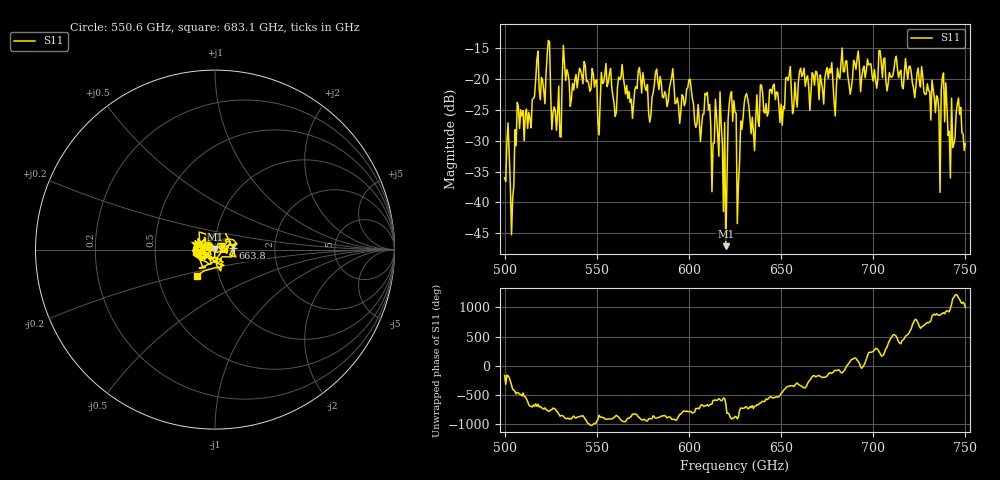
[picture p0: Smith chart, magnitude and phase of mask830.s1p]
!Created with skrf (http://scikit-rf.org).
# GHz S MA R 50.0
!freq magS11 angS11
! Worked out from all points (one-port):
!   401 points, 500 GHz to 750 GHz, reference 50 ohm
!   lowest |S11| = -47.1 dB at 620 GHz (marker M1), VSWR 1.01, Z = 50.1 + j0.422 ohm
!   |S11| at or under -10 dB: start of sweep to end of sweep
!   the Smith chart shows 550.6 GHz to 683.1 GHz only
!   S11 on the Smith chart (normalised r, x): 550.6 GHz: 0.92, +0.03; 663.8 GHz: 1.22, +0.02; 683.1 GHz: 0.78, -0.24
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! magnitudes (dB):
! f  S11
! 500 GHz  -36.0
! 503.8 GHz  -45.2
! 506.9 GHz  -23.8
! 517.5 GHz  -16.9
! 523.8 GHz  -13.7
! 526.9 GHz  -24.5
! 531.2 GHz  -19.6
! 542.5 GHz  -20.8
! 550.6 GHz  -27.0
! 562.5 GHz  -20.1
! 593.8 GHz  -23.0
! 610 GHz  -22.2
! 620 GHz  -47.1
! 622.5 GHz  -22.6
! 625 GHz  -25.3
! 627.5 GHz  -33.3
! 631.2 GHz  -22.3
! 635 GHz  -28.5
! 656.2 GHz  -25.6
! 663.8 GHz  -19.9
! 683.1 GHz  -14.9
! 687.5 GHz  -22.4
! 718.8 GHz  -20.0
! 735 GHz  -23.1
! 738.1 GHz  -19.0
! 743.1 GHz  -31.1
! 746.2 GHz  -23.1
! 750 GHz  -30.4
